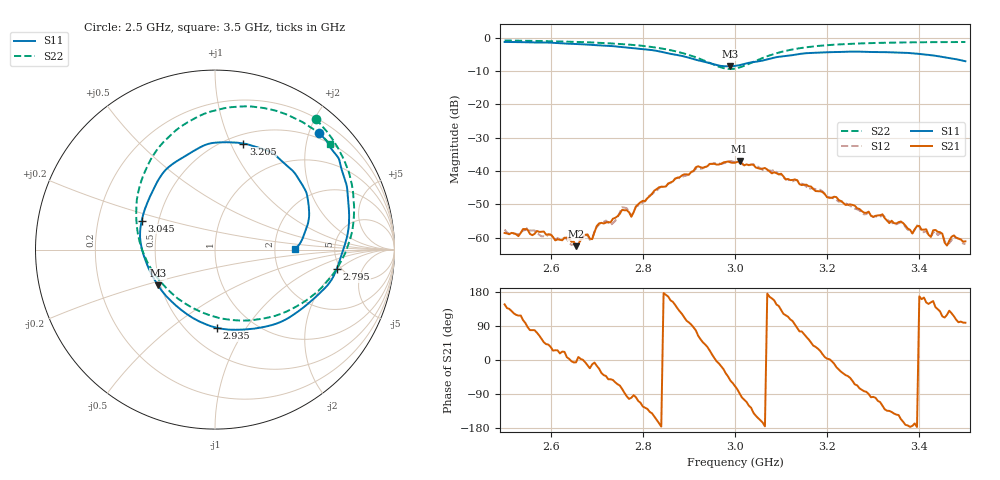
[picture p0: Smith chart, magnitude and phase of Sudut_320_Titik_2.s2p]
# Hz S RI R 50
! CMT, C1220, 16058040, 17.2.0/1
! Date: 15/08/2018 10:53:16
! Data: Format (Calibration Info)
! Freq  S11: Re/Im (F2)  S21: Re/Im (F2)  S12: Re/Im (F2)  S22: Re/Im (F2)
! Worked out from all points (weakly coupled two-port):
!   201 points, 2.5 GHz to 3.5 GHz, reference 50 ohm
!   highest |S21| = -37.08 dB at 3.01 GHz (marker M1); lowest = -62.6 dB at 2.655 GHz (marker M2)
!   lowest |S11| = -8.5 dB at 2.99 GHz (marker M3), VSWR 2.20, Z = 24.2 - j11.1 ohm
!   |S11| at or under -10 dB: nowhere
!   |S22| runs from -9.3 to -0.7 dB; largest |S21 - S12| = 0.001
!   S11 on the Smith chart (normalised r, x): 2.5 GHz: 0.40, +2.17; 2.795 GHz: 4.61, -1.86; 2.935 GHz: 0.69, -0.75; 3.045 GHz: 0.40, +0.16; 3.205 GHz: 0.59, +1.12; 3.5 GHz: 2.62, +0.02
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2.5e9  0.5795 0.6518  -0.000978 0.000641  -0.0011 0.000718  0.5608 0.7272
2.585e9  0.6855 0.5137  0.000839 0.000902  0.000639 0.000826  0.6541 0.6158
2.655e9  0.7353 0.3467  0.000737 -7.98e-05  0.000792 2.38e-05  0.7226 0.4905
2.67e9  0.7385 0.3162  0.00102 8.2e-06  0.000955 -5.11e-05  0.7355 0.4581
2.71e9  0.7473 0.1934  0.00138 -0.000931  0.00148 -0.000885  0.7629 0.3597
2.73e9  0.7458 0.1383  0.00107 -0.00131  0.000936 -0.00122  0.7703 0.3068
2.755e9  0.7289 0.0459  0.000616 -0.00253  0.000833 -0.00272  0.7751 0.2324
2.775e9  0.7075 -0.0224  -0.000346 -0.00202  -0.000494 -0.00204  0.7725 0.1652
2.795e9  0.6788 -0.1065  -0.00133 -0.00312  -0.00131 -0.00291  0.7623 0.0937
2.835e9  0.5812 -0.245  -0.00553 -0.00133  -0.00531 -0.00145  0.7024 -0.0652
2.935e9  0.0125 -0.4365  0.00863 0.00757  0.00831 0.00796  0.2255 -0.3905
2.99e9  -0.3182 -0.1981  0.00785 -0.011  0.00851 -0.0113  -0.2061 -0.2737
3e9  -0.3564 -0.1334  0.00477 -0.0124  0.00415 -0.0128  -0.2713 -0.2141
3.01e9  -0.3856 -0.0643  0.000396 -0.014  0.00044 -0.0133  -0.3289 -0.1477
3.045e9  -0.4081 0.1619  -0.00947 -0.00617  -0.00989 -0.00669  -0.435 0.1258
3.17e9  0.0251 0.5973  0.00422 0.00328  0.00401 0.00368  -0.0945 0.7408
3.205e9  0.1578 0.591  0.00395 0.000145  0.004 -0.000117  0.0338 0.7837
3.335e9  0.4662 0.3935  -0.00115 -0.00118  -0.00126 -0.00121  0.3877 0.757
3.435e9  0.5189 0.1504  -0.000989 0.000844  -0.000967 0.0008  0.5593 0.6616
3.46e9  0.4976 0.0872  -0.000369 0.000661  -0.00037 0.000681  0.5941 0.6349
3.475e9  0.4831 0.0516  -0.000464 0.000971  -0.000424 0.000927  0.612 0.6175
3.5e9  0.4475 0.0032  -0.000127 0.000867  -6.4e-05 0.000793  0.6414 0.5877
